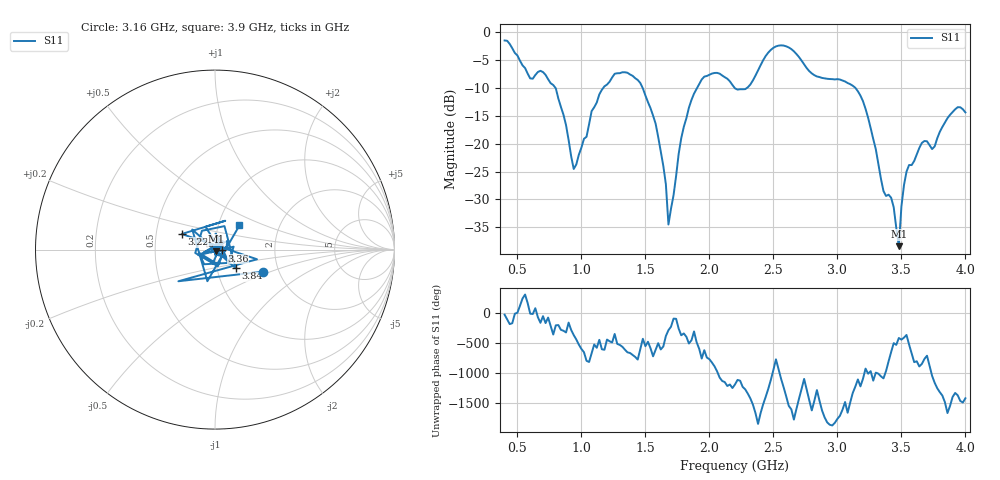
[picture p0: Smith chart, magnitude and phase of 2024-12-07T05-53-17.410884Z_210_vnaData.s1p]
!Created with skrf (http://scikit-rf.org).
# Hz S RI R 50.0
!freq ReS11 ImS11
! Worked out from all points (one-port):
!   181 points, 400 MHz to 4 GHz, reference 50 ohm
!   lowest |S11| = -38.4 dB at 3.48 GHz (marker M1), VSWR 1.02, Z = 50.6 - j1.02 ohm
!   |S11| at or under -10 dB: 797.4 MHz to 1.171 GHz (373.7 MHz wide, 38 % of centre); 1.478 GHz to 1.904 GHz (425.7 MHz wide, 25.2 % of centre); 3.141 GHz to end of sweep (the widest 3 of 4)
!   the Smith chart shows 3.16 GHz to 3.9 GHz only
!   S11 on the Smith chart (normalised r, x): 3.16 GHz: 1.66, -0.45; 3.22 GHz: 0.68, +0.12; 3.36 GHz: 1.08, -0.01; 3.84 GHz: 1.23, -0.26; 3.9 GHz: 1.26, +0.35
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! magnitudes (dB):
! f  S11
! 400 MHz  -1.5
! 600 MHz  -8.3
! 720 MHz  -7.7
! 860 MHz  -14.8
! 940 MHz  -24.5
! 1.14 GHz  -11.2
! 1.3 GHz  -7.4
! 1.46 GHz  -9.1
! 1.56 GHz  -15.0
! 1.64 GHz  -24.0
! 1.68 GHz  -34.5
! 1.76 GHz  -21.8
! 1.84 GHz  -13.5
! 1.94 GHz  -8.5
! 2.2 GHz  -10.1
! 2.5 GHz  -2.8
! 2.66 GHz  -3.4
! 3.1 GHz  -9.3
! 3.16 GHz  -10.6
! 3.22 GHz  -13.8
! 3.36 GHz  -28.5
! 3.42 GHz  -29.7
! 3.48 GHz  -38.4
! 3.52 GHz  -27.5
! 3.56 GHz  -23.8
! 3.84 GHz  -16.2
! 3.9 GHz  -14.3
! 4 GHz  -14.4
